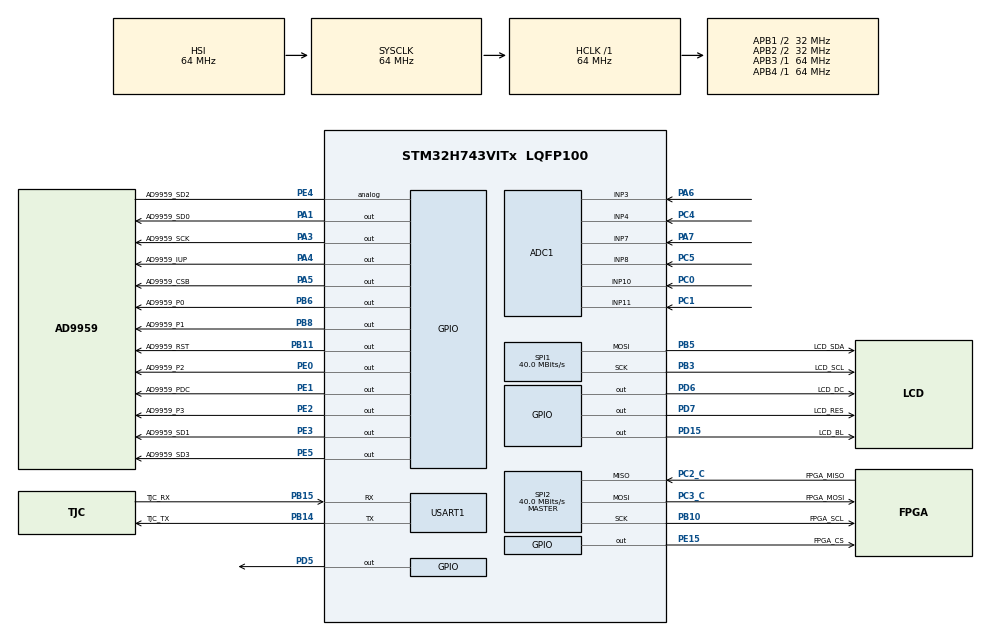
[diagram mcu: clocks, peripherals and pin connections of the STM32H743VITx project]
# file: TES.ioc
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ADC1.Channel-10\#ChannelRegularConversion=ADC_CHANNEL_10
ADC1.Channel-11\#ChannelRegularConversion=ADC_CHANNEL_11
ADC1.Channel-4\#ChannelRegularConversion=ADC_CHANNEL_3
ADC1.Channel-5\#ChannelRegularConversion=ADC_CHANNEL_4
ADC1.Channel-6\#ChannelRegularConversion=ADC_CHANNEL_7
ADC1.Channel-7\#ChannelRegularConversion=ADC_CHANNEL_8
ADC1.ClockPrescaler=ADC_CLOCK_ASYNC_DIV2
ADC1.ClockPrescalerADC3=ADC_CLOCK_ASYNC_DIV16
ADC1.ContinuousConvMode=ENABLE
ADC1.ConversionDataManagement=ADC_CONVERSIONDATA_DMA_CIRCULAR
ADC1.EOCSelection=ADC_EOC_SEQ_CONV
ADC1.NbrOfConversion=6
ADC1.NbrOfConversionFlag=1
ADC1.OffsetNumber-10\#ChannelRegularConversion=ADC_OFFSET_NONE
ADC1.OffsetNumber-11\#ChannelRegularConversion=ADC_OFFSET_NONE
ADC1.OffsetNumber-4\#ChannelRegularConversion=ADC_OFFSET_NONE
ADC1.OffsetNumber-5\#ChannelRegularConversion=ADC_OFFSET_NONE
ADC1.OffsetNumber-6\#ChannelRegularConversion=ADC_OFFSET_NONE
ADC1.OffsetNumber-7\#ChannelRegularConversion=ADC_OFFSET_NONE
ADC1.OffsetSignedSaturation-10\#ChannelRegularConversion=DISABLE
ADC1.OffsetSignedSaturation-11\#ChannelRegularConversion=DISABLE
ADC1.OffsetSignedSaturation-4\#ChannelRegularConversion=DISABLE
ADC1.OffsetSignedSaturation-5\#ChannelRegularConversion=DISABLE
ADC1.OffsetSignedSaturation-6\#ChannelRegularConversion=DISABLE
ADC1.OffsetSignedSaturation-7\#ChannelRegularConversion=DISABLE
ADC1.Overrun=ADC_OVR_DATA_OVERWRITTEN
ADC1.OversamplingMode=DISABLE
ADC1.Rank-10\#ChannelRegularConversion=5
ADC1.Rank-11\#ChannelRegularConversion=6
ADC1.Rank-4\#ChannelRegularConversion=1
ADC1.Rank-5\#ChannelRegularConversion=2
ADC1.Rank-6\#ChannelRegularConversion=3
ADC1.Rank-7\#ChannelRegularConversion=4
ADC1.Ratio=1
ADC1.SamplingTime-10\#ChannelRegularConversion=ADC_SAMPLETIME_8CYCLES_5
ADC1.SamplingTime-11\#ChannelRegularConversion=ADC_SAMPLETIME_8CYCLES_5
ADC1.SamplingTime-4\#ChannelRegularConversion=ADC_SAMPLETIME_8CYCLES_5
ADC1.SamplingTime-5\#ChannelRegularConversion=ADC_SAMPLETIME_8CYCLES_5
ADC1.SamplingTime-6\#ChannelRegularConversion=ADC_SAMPLETIME_8CYCLES_5
ADC1.SamplingTime-7\#ChannelRegularConversion=ADC_SAMPLETIME_8CYCLES_5
ADC1.master=1
ADC3.Channel-0\#ChannelRegularConversion=ADC_CHANNEL_TEMPSENSOR
ADC3.ClockPrescaler=ADC_CLOCK_ASYNC_DIV2
ADC3.ClockPrescalerADC3=ADC_CLOCK_ASYNC_DIV16
ADC3.NbrOfConversionFlag=1
ADC3.OffsetNumber-0\#ChannelRegularConversion=ADC_OFFSET_NONE
ADC3.OffsetSignedSaturation-0\#ChannelRegularConversion=DISABLE
ADC3.Overrun=ADC_OVR_DATA_OVERWRITTEN
ADC3.Rank-0\#ChannelRegularConversion=1
ADC3.SamplingTime-0\#ChannelRegularConversion=ADC_SAMPLETIME_810CYCLES_5
CORTEX_M7.AccessPermission-Cortex_Memory_Protection_Unit_Region0_Settings=MPU_REGION_FULL_ACCESS
CORTEX_M7.AccessPermission_Spec=MPU_REGION_FULL_ACCESS
CORTEX_M7.BaseAddress-Cortex_Memory_Protection_Unit_Region0_Settings=0x0
CORTEX_M7.BaseAddress_Spec=0x24000000
CORTEX_M7.CPU_DCache=Enabled
CORTEX_M7.CPU_ICache=Enabled
CORTEX_M7.DisableExec_Spec=MPU_INSTRUCTION_ACCESS_ENABLE
CORTEX_M7.Enable-Cortex_Memory_Protection_Unit_Region0_Settings=MPU_REGION_ENABLE
CORTEX_M7.Enable_S-Cortex_Memory_Protection_Unit_Region1_Settings_S=__NULL
CORTEX_M7.IsBufferable_Spec=MPU_ACCESS_NOT_BUFFERABLE
CORTEX_M7.IsCacheable_Spec=MPU_ACCESS_NOT_CACHEABLE
CORTEX_M7.IsShareable_Spec=MPU_ACCESS_NOT_SHAREABLE
CORTEX_M7.MPU_Control=MPU_PRIVILEGED_DEFAULT
CORTEX_M7.Size-Cortex_Memory_Protection_Unit_Region0_Settings=MPU_REGION_SIZE_16KB
CORTEX_M7.Size_Spec=MPU_REGION_SIZE_16KB
CORTEX_M7.SubRegionDisable_Spec=0x0
CORTEX_M7.TypeExtField_Spec=MPU_TEX_LEVEL0
CORTEX_M7.default_mode_Activation=1
Dma.ADC1.0.Direction=DMA_PERIPH_TO_MEMORY
Dma.ADC1.0.EventEnable=DISABLE
Dma.ADC1.0.FIFOMode=DMA_FIFOMODE_DISABLE
Dma.ADC1.0.Instance=DMA2_Stream4
Dma.ADC1.0.MemDataAlignment=DMA_MDATAALIGN_HALFWORD
Dma.ADC1.0.MemInc=DMA_MINC_ENABLE
Dma.ADC1.0.Mode=DMA_CIRCULAR
Dma.ADC1.0.PeriphDataAlignment=DMA_PDATAALIGN_HALFWORD
Dma.ADC1.0.PeriphInc=DMA_PINC_DISABLE
Dma.ADC1.0.Polarity=HAL_DMAMUX_REQ_GEN_RISING
Dma.ADC1.0.Priority=DMA_PRIORITY_VERY_HIGH
Dma.ADC1.0.RequestNumber=1
Dma.ADC1.0.SignalID=NONE
Dma.ADC1.0.SyncEnable=DISABLE
Dma.ADC1.0.SyncPolarity=HAL_DMAMUX_SYNC_NO_EVENT
Dma.ADC1.0.SyncRequestNumber=1
Dma.ADC1.0.SyncSignalID=NONE
Dma.Request0=ADC1
Mcu.Family=STM32H7
Mcu.Name=STM32H743VITx
Mcu.Package=LQFP100
NVIC.ADC_IRQn=true\:0\:0\:false\:false\:true\:true\:true\:true
NVIC.DMA2_Stream4_IRQn=true\:0\:0\:false\:false\:true\:false\:true\:true
NVIC.PriorityGroup=NVIC_PRIORITYGROUP_4
PA1.GPIO_Label=AD9959_SD0
PA1.Signal=GPIO_Output
PA3.GPIO_Label=AD9959_SCK
PA3.Signal=GPIO_Output
PA4.GPIO_Label=AD9959_IUP
PA4.Signal=GPIO_Output
PA5.GPIO_Label=AD9959_CSB
PA5.Signal=GPIO_Output
PA6.Signal=ADCx_INP3
PA7.Signal=ADCx_INP7
PB10.GPIO_Label=FPGA_SCL
PB10.Mode=Full_Duplex_Master
PB10.Signal=SPI2_SCK
PB11.GPIO_Label=AD9959_RST
PB11.Signal=GPIO_Output
PB14.GPIO_Label=TJC_TX
PB14.Mode=Asynchronous
PB14.Signal=USART1_TX
PB15.GPIO_Label=TJC_RX
PB15.Mode=Asynchronous
PB15.Signal=USART1_RX
PB3\ (JTDO/TRACESWO).GPIO_Label=LCD_SCL
PB3\ (JTDO/TRACESWO).Mode=TX_Only_Simplex_Unidirect_Master
PB3\ (JTDO/TRACESWO).Signal=SPI1_SCK
PB5.GPIO_Label=LCD_SDA
PB5.Mode=TX_Only_Simplex_Unidirect_Master
PB5.Signal=SPI1_MOSI
PB6.GPIO_Label=AD9959_P0
PB6.Signal=GPIO_Output
PB8.GPIO_Label=AD9959_P1
PB8.Signal=GPIO_Output
PC0.Signal=ADCx_INP10
PC1.Signal=ADCx_INP11
PC12.Signal=SPI3_MOSI
PC14-OSC32_IN\ (OSC32_IN).Mode=LSE-External-Oscillator
PC14-OSC32_IN\ (OSC32_IN).Signal=RCC_OSC32_IN
PC15-OSC32_OUT\ (OSC32_OUT).Mode=LSE-External-Oscillator
PC15-OSC32_OUT\ (OSC32_OUT).Signal=RCC_OSC32_OUT
PC2_C.GPIO_Label=FPGA_MISO
PC2_C.Mode=Full_Duplex_Master
PC2_C.Signal=SPI2_MISO
PC3_C.GPIO_Label=FPGA_MOSI
PC3_C.Mode=Full_Duplex_Master
PC3_C.Signal=SPI2_MOSI
PC4.Signal=ADCx_INP4
PC5.Signal=ADCx_INP8
PD15.GPIO_Label=LCD_BL
PD15.Signal=GPIO_Output
PD5.Signal=GPIO_Output
PD6.GPIO_Label=LCD_DC
PD6.Signal=GPIO_Output
PD7.GPIO_Label=LCD_RES
PD7.Signal=GPIO_Output
PE0.GPIO_Label=AD9959_P2
PE0.Signal=GPIO_Output
PE1.GPIO_Label=AD9959_PDC
PE1.Signal=GPIO_Output
PE15.GPIO_Label=FPGA_CS
PE15.Signal=GPIO_Output
PE2.GPIO_Label=AD9959_P3
PE2.Signal=GPIO_Output
PE3.GPIO_Label=AD9959_SD1
PE3.Signal=GPIO_Output
PE4.GPIO_Label=AD9959_SD2
PE4.Signal=GPIO_Analog
PE5.GPIO_Label=AD9959_SD3
PE5.Signal=GPIO_Output
PH0-OSC_IN\ (PH0).Mode=HSE-External-Oscillator
PH0-OSC_IN\ (PH0).Signal=RCC_OSC_IN
PH1-OSC_OUT\ (PH1).Mode=HSE-External-Oscillator
PH1-OSC_OUT\ (PH1).Signal=RCC_OSC_OUT
ProjectManager.HeapSize=0x200
ProjectManager.StackSize=0x400
ProjectManager.TargetToolchain=MDK-ARM V5.32
RCC.ADCFreq_Value=72000000
RCC.APB1Freq_Value=32000000
RCC.APB2Freq_Value=32000000
RCC.APB3Freq_Value=64000000
RCC.APB4Freq_Value=64000000
RCC.CortexFreq_Value=64000000
RCC.D2PPRE1=RCC_APB1_DIV2
RCC.D2PPRE2=RCC_APB2_DIV2
RCC.DIVM1=4
RCC.DIVM2=4
RCC.DIVM3=4
RCC.DIVN1=10
RCC.DIVN2=36
RCC.DIVN3=10
RCC.DIVP2=8
RCC.DIVP3=4
RCC.DIVQ3=4
RCC.HCLKFreq_Value=64000000
RCC.PLL1_VCI_Range-AdvancedSettings=RCC_PLL1VCIRANGE_0
RCC.PLL2FRACN=0
RCC.PLL3FRACN=0
RCC.PLLFRACN=0
RCC.SYSCLKFreq_VALUE=64000000
RCC.USBFreq_Value=80000000
SH.ADCx_INP10.0=ADC1_INP10,IN10-Single-Ended
SH.ADCx_INP11.0=ADC1_INP11,IN11-Single-Ended
SH.ADCx_INP3.0=ADC1_INP3,IN3-Single-Ended
SH.ADCx_INP4.0=ADC1_INP4,IN4-Single-Ended
SH.ADCx_INP7.0=ADC1_INP7,IN7-Single-Ended
SH.ADCx_INP8.0=ADC1_INP8,IN8-Single-Ended
SPI1.CalculateBaudRate=40.0 MBits/s
SPI1.Direction=SPI_DIRECTION_2LINES_TXONLY
SPI1.Mode=SPI_MODE_MASTER
SPI1.VirtualType=VM_MASTER
SPI2.CalculateBaudRate=40.0 MBits/s
SPI2.Direction=SPI_DIRECTION_2LINES
SPI2.Mode=SPI_MODE_MASTER
SPI2.VirtualType=VM_MASTER
USART1.VirtualMode-Asynchronous=VM_ASYNC
VP_ADC3_TempSens_Input.Mode=IN-TempSens
VP_MEMORYMAP_VS_MEMORYMAP.Mode=CurAppReg
board=custom

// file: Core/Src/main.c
/* USER CODE BEGIN Header */
/**
  ******************************************************************************
  * @file           : main.c
  * @brief          : Main program body
  ******************************************************************************
  * @attention
  *
  * Copyright (c) 2025 STMicroelectronics.
  * All rights reserved.
  *
  * This software is licensed under terms that can be found in the LICENSE file
  * in the root directory of this software component.
  * If no LICENSE file comes with this software, it is provided AS-IS.
  *
  ******************************************************************************
  */
/* USER CODE END Header */
#include "main.h"
#include "adc.h"
#include "dma.h"
#include "memorymap.h"
#include "spi.h"
#include "usart.h"
#include "gpio.h"
#include "judge.h"

/* USER CODE BEGIN Includes */
#include <stdio.h>
//
#include "TJC_Usart.h"
#include "ad9959.h"
/* USER CODE END Includes */

void SystemClock_Config(void);
void PeriphCommonClock_Config(void);
static void MPU_Config(void);

/* USER CODE BEGIN 0 */
#define KEY0 (HAL_GPIO_ReadPin(GPIOA, GPIO_PIN_0))

uint8_t TD[5] = {0x11, 0x22, 0x33, 0x44, 0x55};
uint32_t uwTick_pre = 1000000;
uint32_t cnt_t;
uint32_t AD_freq;
uint8_t  AD_val;
/* USER CODE END 0 */

int main(void)
{

  /* MPU Configuration--------------------------------------------------------*/
  MPU_Config();

  /* Enable the CPU Cache */

  /* Enable I-Cache---------------------------------------------------------*/
  SCB_EnableICache();

  /* Enable D-Cache---------------------------------------------------------*/
  SCB_EnableDCache();

  /* MCU Configuration--------------------------------------------------------*/

  /* Reset of all peripherals, Initializes the Flash interface and the Systick. */
  HAL_Init();

  /* Configure the system clock */
  SystemClock_Config();

  /* Configure the peripherals common clocks */
  PeriphCommonClock_Config();

  /* Initialize all configured peripherals */
  MX_GPIO_Init();
  MX_DMA_Init();
  MX_USART1_UART_Init();
  MX_ADC1_Init();
  MX_SPI1_Init();
  MX_SPI2_Init();
  MX_ADC3_Init();
  /* USER CODE BEGIN 2 */
	//HAL_UART_Receive_IT(&huart1, &rx_buff[cnt_rx], 1);
	Serial_TJC_SendTxt(1, "It's My Go!!!!!");
	Serial_TJC_SendTxt(2, "ȫ�����ᵯ~");
	Write_frequency(MAIN_CH_SELECT, 1000);
	Write_Amplitude(MAIN_CH_SELECT, 100);
  /* USER CODE END 2 */

  /* Infinite loop */
	while (1)
	{

    /* USER CODE BEGIN 3 */
		//AD9833_WaveSeting(uwTick % 1000000,0,SIN_WAVE,1920);
		Serial_TJC_SendTxt(12, "Minute:%02d  Sencond:%02d.%03d",
							uwTick / 60000, uwTick % 60000 / 1000, uwTick % 1000);
		//Write_frequency(0, uwTick * 10 % 500000000);
		//Write_Amplitude(0, uwTick / 100 % 1024);

		Channel_Select(MAIN_CH_SELECT);
		AD_freq = Get_Frequency();
		AD_val  = Get_Amplitude();
		Serial_TJC_SendTxt(3, "AD9959Ƶ��: %d Hz",
							AD_freq);
		Serial_TJC_SendTxt(4, "AD9959��ֵ: %4.2f mV",
							(float)AD_val / 2);
		show_GPU_temprature();
		ShowADCResult();
		cnt_t ++;

		HAL_Delay(10);

	}
  /* USER CODE END 3 */
}

void SystemClock_Config(void)
{
  RCC_OscInitTypeDef RCC_OscInitStruct = {0};
  RCC_ClkInitTypeDef RCC_ClkInitStruct = {0};

  /** Supply configuration update enable
  */
  HAL_PWREx_ConfigSupply(PWR_LDO_SUPPLY);

  /** Configure the main internal regulator output voltage
  */
  __HAL_PWR_VOLTAGESCALING_CONFIG(PWR_REGULATOR_VOLTAGE_SCALE3);

  while(!__HAL_PWR_GET_FLAG(PWR_FLAG_VOSRDY)) {}

  /** Initializes the RCC Oscillators according to the specified parameters
  * in the RCC_OscInitTypeDef structure.
  */
  RCC_OscInitStruct.OscillatorType = RCC_OSCILLATORTYPE_HSI;
  RCC_OscInitStruct.HSIState = RCC_HSI_DIV1;
  RCC_OscInitStruct.HSICalibrationValue = RCC_HSICALIBRATION_DEFAULT;
  RCC_OscInitStruct.PLL.PLLState = RCC_PLL_ON;
  RCC_OscInitStruct.PLL.PLLSource = RCC_PLLSOURCE_HSI;
  RCC_OscInitStruct.PLL.PLLM = 4;
  RCC_OscInitStruct.PLL.PLLN = 10;
  RCC_OscInitStruct.PLL.PLLP = 2;
  RCC_OscInitStruct.PLL.PLLQ = 2;
  RCC_OscInitStruct.PLL.PLLR = 2;
  RCC_OscInitStruct.PLL.PLLRGE = RCC_PLL1VCIRANGE_3;
  RCC_OscInitStruct.PLL.PLLVCOSEL = RCC_PLL1VCOMEDIUM;
  RCC_OscInitStruct.PLL.PLLFRACN = 0;
  if (HAL_RCC_OscConfig(&RCC_OscInitStruct) != HAL_OK)
  {
    Error_Handler();
  }

  /** Initializes the CPU, AHB and APB buses clocks
  */
  RCC_ClkInitStruct.ClockType = RCC_CLOCKTYPE_HCLK|RCC_CLOCKTYPE_SYSCLK
                              |RCC_CLOCKTYPE_PCLK1|RCC_CLOCKTYPE_PCLK2
                              |RCC_CLOCKTYPE_D3PCLK1|RCC_CLOCKTYPE_D1PCLK1;
  RCC_ClkInitStruct.SYSCLKSource = RCC_SYSCLKSOURCE_HSI;
  RCC_ClkInitStruct.SYSCLKDivider = RCC_SYSCLK_DIV1;
  RCC_ClkInitStruct.AHBCLKDivider = RCC_HCLK_DIV1;
  RCC_ClkInitStruct.APB3CLKDivider = RCC_APB3_DIV1;
  RCC_ClkInitStruct.APB1CLKDivider = RCC_APB1_DIV2;
  RCC_ClkInitStruct.APB2CLKDivider = RCC_APB2_DIV2;
  RCC_ClkInitStruct.APB4CLKDivider = RCC_APB4_DIV1;

  if (HAL_RCC_ClockConfig(&RCC_ClkInitStruct, FLASH_LATENCY_1) != HAL_OK)
  {
    Error_Handler();
  }
}

void PeriphCommonClock_Config(void)
{
  RCC_PeriphCLKInitTypeDef PeriphClkInitStruct = {0};

  /** Initializes the peripherals clock
  */
  PeriphClkInitStruct.PeriphClockSelection = RCC_PERIPHCLK_ADC;
  PeriphClkInitStruct.PLL2.PLL2M = 4;
  PeriphClkInitStruct.PLL2.PLL2N = 36;
  PeriphClkInitStruct.PLL2.PLL2P = 8;
  PeriphClkInitStruct.PLL2.PLL2Q = 2;
  PeriphClkInitStruct.PLL2.PLL2R = 2;
  PeriphClkInitStruct.PLL2.PLL2RGE = RCC_PLL2VCIRANGE_3;
  PeriphClkInitStruct.PLL2.PLL2VCOSEL = RCC_PLL2VCOWIDE;
  PeriphClkInitStruct.PLL2.PLL2FRACN = 0;
  PeriphClkInitStruct.AdcClockSelection = RCC_ADCCLKSOURCE_PLL2;
  if (HAL_RCCEx_PeriphCLKConfig(&PeriphClkInitStruct) != HAL_OK)
  {
    Error_Handler();
  }
}

 /* MPU Configuration */

void MPU_Config(void)
{
  MPU_Region_InitTypeDef MPU_InitStruct = {0};

  /* Disables the MPU */
  HAL_MPU_Disable();

  /** Initializes and configures the Region and the memory to be protected
  */
  MPU_InitStruct.Enable = MPU_REGION_ENABLE;
  MPU_InitStruct.Number = MPU_REGION_NUMBER0;
  MPU_InitStruct.BaseAddress = 0x24000000;
  MPU_InitStruct.Size = MPU_REGION_SIZE_16KB;
  MPU_InitStruct.SubRegionDisable = 0x0;
  MPU_InitStruct.TypeExtField = MPU_TEX_LEVEL0;
  MPU_InitStruct.AccessPermission = MPU_REGION_FULL_ACCESS;
  MPU_InitStruct.DisableExec = MPU_INSTRUCTION_ACCESS_ENABLE;
  MPU_InitStruct.IsShareable = MPU_ACCESS_NOT_SHAREABLE;
  MPU_InitStruct.IsCacheable = MPU_ACCESS_NOT_CACHEABLE;
  MPU_InitStruct.IsBufferable = MPU_ACCESS_NOT_BUFFERABLE;

  HAL_MPU_ConfigRegion(&MPU_InitStruct);
  /* Enables the MPU */
  HAL_MPU_Enable(MPU_PRIVILEGED_DEFAULT);

}

void Error_Handler(void)
{
  __disable_irq();
  while (1)
  {
  }
}
